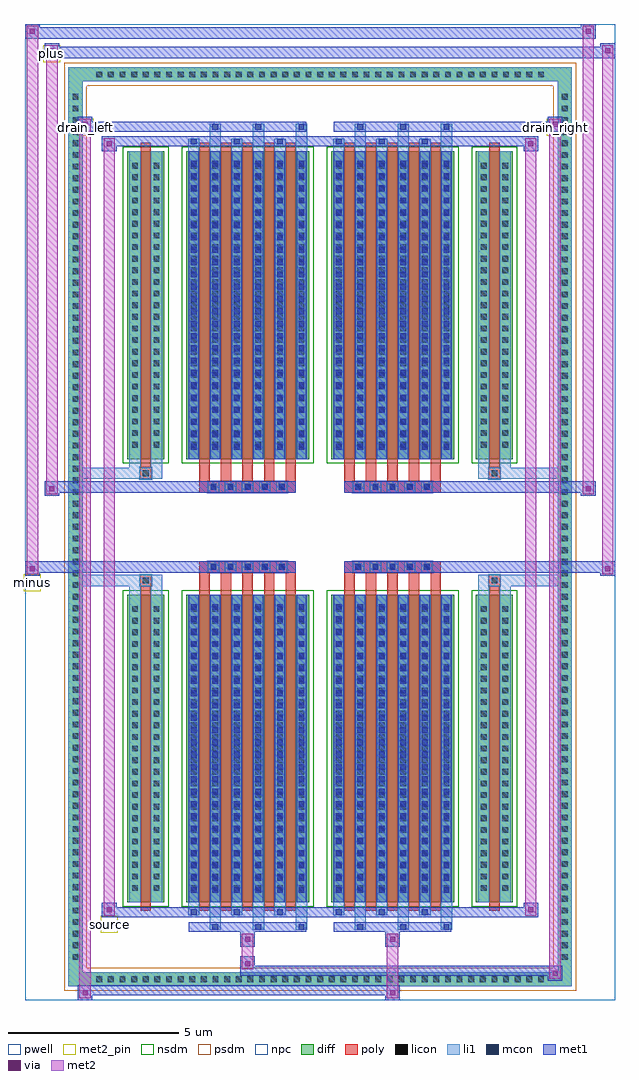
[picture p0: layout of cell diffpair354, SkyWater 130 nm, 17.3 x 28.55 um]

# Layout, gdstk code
import gdstk
lib = gdstk.Library(unit=1e-6, precision=5e-09)
def R(c, l, rs):  # rectangles x0, y0, x1, y1
    for r in rs: c.add(gdstk.rectangle(r[:2], r[2:], *l))
def A(c, l, x, y, w, h, nx, ny, dx, dy):  # array of equal rectangles
    R(c, l, [(x+i*dx, y+j*dy, x+i*dx+w, y+j*dy+h) for i in range(nx) for j in range(ny)])
def P(c, l, *ps):  # polygons
    for p in ps: c.add(gdstk.Polygon(p, *l))
pwell = (64, 44)
diff = (65, 20)
poly = (66, 20)
licon = (66, 44)
li1 = (67, 20)
mcon = (67, 44)
met1 = (68, 20)
via = (68, 44)
met2_pin = (69, 16)
met2 = (69, 20)
nsdm = (93, 44)
psdm = (94, 20)
npc = (95, 20)

diffpair354 = lib.new_cell('diffpair354')
R(diffpair354, pwell, [(-8.63,-13.84,8.63,14.71), (-5.95,-12.03,-0.01,-0.805), (0.01,-12.03,5.95,-0.805), (-5.95,0.805,-0.01,12.03), (0.01,0.805,5.95,12.03)])
A(diffpair354, diff, -6.665, -13.44, 0.41, 0.41, 39, 2, 0.34, 26.47)
A(diffpair354, diff, -7.36, -12.785, 0.41, 0.41, 1, 75, 0, 0.34)
A(diffpair354, diff, 6.95, -12.785, 0.41, 0.41, 1, 75, 0, 0.34)
R(diffpair354, diff, [(-6.665,-13.44,6.665,-13.03), (-7.36,-12.785,-6.95,12.785), (6.95,-12.785,7.36,12.785), (-5.64,-10.985,-4.56,-1.985), (-3.92,-10.985,-0.32,-1.985), (0.32,-10.985,3.92,-1.985), (4.56,-10.985,5.64,-1.985), (-5.64,1.985,-4.56,10.985), (-3.92,1.985,-0.32,10.985), (0.32,1.985,3.92,10.985), (4.56,1.985,5.64,10.985), (-6.665,13.03,6.665,13.44)])
P(diffpair354, diff, [(7.36,13.44),(-7.36,13.44),(-7.36,-13.03),(-6.95,-13.03),(-6.95,13.03),(6.95,13.03),(6.95,-13.03),(-6.95,-13.03),(-7.36,-13.03),(-7.36,-13.44),(7.36,-13.44)])
A(diffpair354, poly, -3.53, -11.235, 0.3, 9.5, 5, 2, 0.63, 12.97)
A(diffpair354, poly, 0.71, -11.235, 0.3, 9.5, 5, 2, 0.63, 12.97)
A(diffpair354, poly, -3.53, -1.735, 0.3, 0.4, 5, 2, 0.63, 3.07)
A(diffpair354, poly, 0.71, -1.735, 0.3, 0.4, 5, 2, 0.63, 3.07)
A(diffpair354, poly, -3.285, -1.335, 0.33, 0.33, 5, 2, 0.5, 2.34)
A(diffpair354, poly, 0.955, -1.335, 0.33, 0.33, 5, 2, 0.5, 2.34)
R(diffpair354, poly, [(-5.25,-11.235,-4.95,-1.735), (4.95,-11.235,5.25,-1.735), (-5.265,-1.735,-4.935,-1.405), (-5.265,-1.735,-4.935,-1.405), (4.935,-1.735,5.265,-1.405), (4.935,-1.735,5.265,-1.405), (-3.53,-1.335,-0.71,-1.005), (0.71,-1.335,3.53,-1.005), (-3.53,1.005,-0.71,1.335), (0.71,1.005,3.53,1.335), (-5.265,1.405,-4.935,1.735), (-5.265,1.405,-4.935,1.735), (4.935,1.405,5.265,1.735), (4.935,1.405,5.265,1.735), (-5.25,1.735,-4.95,11.235), (4.95,1.735,5.25,11.235)])
A(diffpair354, licon, -6.545, -13.32, 0.17, 0.17, 39, 2, 0.34, 26.47)
A(diffpair354, licon, -7.24, -12.665, 0.17, 0.17, 1, 75, 0, 0.34)
A(diffpair354, licon, 7.07, -12.665, 0.17, 0.17, 1, 75, 0, 0.34)
A(diffpair354, licon, -5.5, -10.65, 0.17, 0.17, 1, 25, 0, 0.34)
A(diffpair354, licon, -4.87, -10.65, 0.17, 0.17, 1, 25, 0, 0.34)
A(diffpair354, licon, -3.78, -10.65, 0.17, 0.17, 6, 25, 0.63, 0.34)
A(diffpair354, licon, 0.46, -10.65, 0.17, 0.17, 6, 25, 0.63, 0.34)
A(diffpair354, licon, 4.7, -10.65, 0.17, 0.17, 1, 25, 0, 0.34)
A(diffpair354, licon, 5.33, -10.65, 0.17, 0.17, 1, 25, 0, 0.34)
A(diffpair354, licon, -3.205, -1.255, 0.17, 0.17, 5, 2, 0.5, 2.34)
A(diffpair354, licon, 1.035, -1.255, 0.17, 0.17, 5, 2, 0.5, 2.34)
A(diffpair354, licon, -5.5, 2.32, 0.17, 0.17, 1, 25, 0, 0.34)
A(diffpair354, licon, -4.87, 2.32, 0.17, 0.17, 1, 25, 0, 0.34)
A(diffpair354, licon, -3.78, 2.32, 0.17, 0.17, 6, 25, 0.63, 0.34)
A(diffpair354, licon, 0.46, 2.32, 0.17, 0.17, 6, 25, 0.63, 0.34)
A(diffpair354, licon, 4.7, 2.32, 0.17, 0.17, 1, 25, 0, 0.34)
A(diffpair354, licon, 5.33, 2.32, 0.17, 0.17, 1, 25, 0, 0.34)
R(diffpair354, licon, [(-5.185,-1.655,-5.015,-1.485), (5.015,-1.655,5.185,-1.485), (-5.185,1.485,-5.015,1.655), (5.015,1.485,5.185,1.655)])
A(diffpair354, li1, -6.625, -13.4, 0.33, 0.33, 39, 2, 0.34, 26.47)
A(diffpair354, li1, -7.32, -12.745, 0.33, 0.33, 1, 75, 0, 0.34)
A(diffpair354, li1, 6.99, -12.745, 0.33, 0.33, 1, 75, 0, 0.34)
A(diffpair354, li1, -3.23, -11.79, 0.33, 0.805, 3, 2, 1.26, 22.775)
A(diffpair354, li1, -3.15, -11.79, 0.17, 0.17, 3, 2, 1.26, 23.41)
A(diffpair354, li1, 1.01, -11.79, 0.33, 0.805, 3, 2, 1.26, 22.775)
A(diffpair354, li1, 1.09, -11.79, 0.17, 0.17, 3, 2, 1.26, 23.41)
A(diffpair354, li1, -3.86, -11.36, 0.33, 0.375, 3, 2, 1.26, 22.345)
A(diffpair354, li1, -3.78, -11.36, 0.17, 0.17, 3, 2, 1.26, 22.55)
A(diffpair354, li1, 0.38, -11.36, 0.33, 0.375, 3, 2, 1.26, 22.345)
A(diffpair354, li1, 0.46, -11.36, 0.17, 0.17, 3, 2, 1.26, 22.55)
A(diffpair354, li1, -3.86, -10.985, 0.33, 9, 6, 2, 0.63, 12.97)
A(diffpair354, li1, 0.38, -10.985, 0.33, 9, 6, 2, 0.63, 12.97)
A(diffpair354, li1, -5.58, -10.73, 0.33, 0.33, 1, 25, 0, 0.34)
A(diffpair354, li1, -4.95, -10.73, 0.33, 0.33, 1, 25, 0, 0.34)
A(diffpair354, li1, -3.86, -10.73, 0.33, 0.33, 6, 25, 0.63, 0.34)
A(diffpair354, li1, 0.38, -10.73, 0.33, 0.33, 6, 25, 0.63, 0.34)
A(diffpair354, li1, 4.62, -10.73, 0.33, 0.33, 1, 25, 0, 0.34)
A(diffpair354, li1, 5.25, -10.73, 0.33, 0.33, 1, 25, 0, 0.34)
A(diffpair354, li1, -3.78, -10.71, 0.17, 0.17, 6, 24, 0.63, 0.36)
A(diffpair354, li1, -3.78, -10.71, 0.17, 8.45, 6, 2, 0.63, 12.97)
A(diffpair354, li1, 0.46, -10.71, 0.17, 0.17, 6, 24, 0.63, 0.36)
A(diffpair354, li1, 0.46, -10.71, 0.17, 8.45, 6, 2, 0.63, 12.97)
A(diffpair354, li1, -3.285, -1.335, 0.33, 0.33, 5, 2, 0.5, 2.34)
A(diffpair354, li1, 0.955, -1.335, 0.33, 0.33, 5, 2, 0.5, 2.34)
A(diffpair354, li1, -5.58, 2.24, 0.33, 0.33, 1, 25, 0, 0.34)
A(diffpair354, li1, -4.95, 2.24, 0.33, 0.33, 1, 25, 0, 0.34)
A(diffpair354, li1, -3.86, 2.24, 0.33, 0.33, 6, 25, 0.63, 0.34)
A(diffpair354, li1, 0.38, 2.24, 0.33, 0.33, 6, 25, 0.63, 0.34)
A(diffpair354, li1, 4.62, 2.24, 0.33, 0.33, 1, 25, 0, 0.34)
A(diffpair354, li1, 5.25, 2.24, 0.33, 0.33, 1, 25, 0, 0.34)
A(diffpair354, li1, -3.78, 2.26, 0.17, 0.17, 6, 24, 0.63, 0.36)
A(diffpair354, li1, 0.46, 2.26, 0.17, 0.17, 6, 24, 0.63, 0.36)
R(diffpair354, li1, [(-7.36,-13.44,-6.95,-13.03), (-7.36,-13.44,-6.95,-13.03), (-6.95,-13.44,6.95,-13.03), (6.95,-13.44,7.36,-13.03), (6.95,-13.44,7.36,-13.03), (-7.36,-13.03,-6.95,13.03), (6.95,-13.03,7.36,13.03), (-5.58,-10.985,-5.25,-1.985), (-4.95,-10.985,-4.62,-1.985), (4.62,-10.985,4.95,-1.985), (5.25,-10.985,5.58,-1.985), (-5.58,-1.985,-5.25,-1.405), (-4.95,-1.985,-4.62,-1.405), (4.62,-1.985,4.95,-1.405), (5.25,-1.985,5.58,-1.405), (-7.36,-1.735,-5.265,-1.405), (-5.58,-1.735,-5.265,-1.405), (-5.265,-1.735,-4.935,-1.405), (-4.935,-1.735,-4.62,-1.405), (4.62,-1.735,4.935,-1.405), (4.935,-1.735,5.265,-1.405), (4.935,-1.735,7.36,-1.405), (5.265,-1.735,5.58,-1.405), (-7.36,1.405,-5.265,1.735), (-5.58,1.405,-5.265,1.735), (-5.58,1.405,-5.25,1.985), (-5.265,1.405,-4.935,1.735), (-4.95,1.405,-4.62,1.985), (-4.935,1.405,-4.62,1.735), (4.62,1.405,4.935,1.735), (4.62,1.405,4.95,1.985), (4.935,1.405,5.265,1.735), (4.935,1.405,7.36,1.735), (5.25,1.405,5.58,1.985), (5.265,1.405,5.58,1.735), (-5.58,1.985,-5.25,10.985), (-4.95,1.985,-4.62,10.985), (4.62,1.985,4.95,10.985), (5.25,1.985,5.58,10.985), (-7.36,13.03,-6.95,13.44), (-7.36,13.03,-6.95,13.44), (-6.95,13.03,6.95,13.44), (6.95,13.03,7.36,13.44), (6.95,13.03,7.36,13.44)])
A(diffpair354, mcon, -3.15, -11.79, 0.17, 0.17, 3, 2, 1.26, 23.41)
A(diffpair354, mcon, 1.09, -11.79, 0.17, 0.17, 3, 2, 1.26, 23.41)
A(diffpair354, mcon, -3.78, -11.36, 0.17, 0.17, 3, 2, 1.26, 22.55)
A(diffpair354, mcon, 0.46, -11.36, 0.17, 0.17, 3, 2, 1.26, 22.55)
A(diffpair354, mcon, -3.78, -10.71, 0.17, 0.17, 6, 24, 0.63, 0.36)
A(diffpair354, mcon, 0.46, -10.71, 0.17, 0.17, 6, 24, 0.63, 0.36)
A(diffpair354, mcon, -3.205, -1.255, 0.17, 0.17, 5, 2, 0.5, 2.34)
A(diffpair354, mcon, 1.035, -1.255, 0.17, 0.17, 5, 2, 0.5, 2.34)
A(diffpair354, mcon, -3.78, 2.26, 0.17, 0.17, 6, 24, 0.63, 0.36)
A(diffpair354, mcon, 0.46, 2.26, 0.17, 0.17, 6, 24, 0.63, 0.36)
A(diffpair354, met1, -3.21, -11.85, 0.29, 0.29, 3, 2, 1.26, 23.41)
A(diffpair354, met1, 1.03, -11.85, 0.29, 0.29, 3, 2, 1.26, 23.41)
A(diffpair354, met1, -3.84, -11.42, 0.29, 0.29, 3, 2, 1.26, 22.55)
A(diffpair354, met1, 0.4, -11.42, 0.29, 0.29, 3, 2, 1.26, 22.55)
A(diffpair354, met1, -3.84, -10.985, 0.29, 9, 6, 2, 0.63, 12.97)
A(diffpair354, met1, 0.4, -10.985, 0.29, 9, 6, 2, 0.63, 12.97)
A(diffpair354, met1, -3.84, -10.77, 0.29, 0.29, 6, 24, 0.63, 0.36)
A(diffpair354, met1, 0.4, -10.77, 0.29, 0.29, 6, 24, 0.63, 0.36)
A(diffpair354, met1, -3.265, -1.315, 0.29, 0.29, 5, 2, 0.5, 2.34)
A(diffpair354, met1, 0.975, -1.315, 0.29, 0.29, 5, 2, 0.5, 2.34)
A(diffpair354, met1, -3.84, 2.2, 0.29, 0.29, 6, 24, 0.63, 0.36)
A(diffpair354, met1, 0.4, 2.2, 0.29, 0.29, 6, 24, 0.63, 0.36)
R(diffpair354, met1, [(-7.09,-13.84,-6.66,-13.41), (1.905,-13.84,2.335,-13.41), (-7.09,-13.7,2.335,-13.41), (6.66,-13.27,7.09,-12.84), (-2.335,-13.13,7.09,-12.84), (-2.335,-12.99,-1.905,-12.56), (-2.335,-12.28,-1.905,-11.85), (1.905,-12.28,2.335,-11.85), (-3.84,-11.85,-0.4,-11.56), (0.4,-11.85,3.84,-11.56), (-6.38,-11.42,-5.95,-10.99), (-6.38,-11.42,-3.84,-11.13), (-3.84,-11.42,-0.4,-11.13), (-0.4,-11.42,0.4,-11.13), (0.4,-11.42,3.84,-11.13), (3.84,-11.42,6.38,-11.13), (5.95,-11.42,6.38,-10.99), (-8.63,-1.435,-8.2,-1.005), (8.2,-1.435,8.63,-1.005), (-8.63,-1.335,-0.71,-1.005), (-3.53,-1.335,-0.71,-1.005), (0.71,-1.335,3.53,-1.005), (0.71,-1.335,8.63,-1.005), (-8.06,0.905,-7.63,1.335), (7.63,0.905,8.06,1.335), (-8.06,1.005,-3.53,1.335), (-3.53,1.005,-0.71,1.335), (0.71,1.005,3.53,1.335), (3.53,1.005,8.06,1.335), (-6.38,10.99,-5.95,11.42), (5.95,10.99,6.38,11.42), (-6.38,11.13,-3.84,11.42), (-3.84,11.13,-0.4,11.42), (-0.4,11.13,0.4,11.42), (0.4,11.13,3.84,11.42), (3.84,11.13,6.38,11.42), (-7.09,11.56,-6.66,11.99), (-7.09,11.56,-3.84,11.85), (-3.84,11.56,-0.4,11.85), (0.4,11.56,3.84,11.85), (3.84,11.56,7.09,11.85), (6.66,11.56,7.09,11.99), (-8.06,13.71,-7.63,14.14), (-8.06,13.71,-5.95,14.04), (-5.95,13.71,5.95,14.04), (5.95,13.71,8.63,14.04), (8.2,13.71,8.63,14.14), (-8.63,14.28,-8.2,14.71), (-8.63,14.28,-5.95,14.61), (-5.95,14.28,5.95,14.61), (5.95,14.28,8.06,14.61), (7.63,14.28,8.06,14.71)])
R(diffpair354, via, [(-6.95,-13.7,-6.8,-13.55), (2.045,-13.7,2.195,-13.55), (6.8,-13.13,6.95,-12.98), (-2.195,-12.85,-2.045,-12.7), (-2.195,-12.14,-2.045,-11.99), (2.045,-12.14,2.195,-11.99), (-6.24,-11.28,-6.09,-11.13), (6.09,-11.28,6.24,-11.13), (-8.49,-1.295,-8.34,-1.145), (8.34,-1.295,8.49,-1.145), (-7.92,1.045,-7.77,1.195), (7.77,1.045,7.92,1.195), (-6.24,11.13,-6.09,11.28), (6.09,11.13,6.24,11.28), (-6.95,11.7,-6.8,11.85), (6.8,11.7,6.95,11.85), (-7.92,13.85,-7.77,14), (8.34,13.85,8.49,14), (-8.49,14.42,-8.34,14.57), (7.77,14.42,7.92,14.57)])
R(diffpair354, met2_pin, [(-6.415,-11.87,-5.915,-11.37), (-8.665,-1.885,-8.165,-1.385), (-7.125,11.44,-6.625,11.94), (6.625,11.44,7.125,11.94), (-8.095,13.59,-7.595,14.09)])
R(diffpair354, met2, [(-7.04,-13.79,-6.71,-13.46), (-7.04,-13.79,-6.71,11.94), (1.955,-13.79,2.285,-13.46), (1.955,-13.46,2.285,-12.23), (6.71,-13.22,7.04,-12.89), (6.71,-13.22,7.04,11.94), (-2.285,-12.94,-1.955,-12.61), (-2.285,-12.61,-1.955,-12.23), (-2.285,-12.23,-1.955,-11.9), (1.955,-12.23,2.285,-11.9), (-6.33,-11.37,-6,-11.04), (-6.33,-11.37,-6,11.37), (6,-11.37,6.33,-11.04), (6,-11.37,6.33,11.37), (-8.58,-1.385,-8.25,-1.055), (-8.58,-1.385,-8.25,14.66), (8.25,-1.385,8.58,-1.055), (8.25,-1.385,8.58,14.09), (-8.01,0.955,-7.68,1.285), (-8.01,0.955,-7.68,14.09), (7.68,0.955,8.01,1.285), (7.68,0.955,8.01,14.66), (-6.33,11.04,-6,11.37), (6,11.04,6.33,11.37), (-7.04,11.61,-6.71,11.94), (6.71,11.61,7.04,11.94), (-8.01,13.76,-7.68,14.09), (8.25,13.76,8.58,14.09), (-8.58,14.33,-8.25,14.66), (7.68,14.33,8.01,14.66)])
P(diffpair354, met2, [(8.58,-1.385),(8.58,-1.385),(8.58,-1.055),(8.58,-1.055)],
  [(8.58,13.76),(8.58,13.76),(8.58,14.09),(8.58,14.09)],
  [(-8.25,-1.385),(-8.25,-1.385),(-8.25,-1.055),(-8.25,-1.055)],
  [(-8.25,14.33),(-8.25,14.33),(-8.25,14.66),(-8.25,14.66)],
  [(8.01,0.955),(8.01,0.955),(8.01,1.285),(8.01,1.285)],
  [(8.01,14.33),(8.01,14.33),(8.01,14.66),(8.01,14.66)],
  [(-7.68,0.955),(-7.68,0.955),(-7.68,1.285),(-7.68,1.285)],
  [(-7.68,13.76),(-7.68,13.76),(-7.68,14.09),(-7.68,14.09)],
  [(-6.71,-13.79),(-6.71,-13.79),(-6.71,-13.46),(-6.71,-13.46)],
  [(-6.71,11.61),(-6.71,11.61),(-6.71,11.94),(-6.71,11.94)],
  [(7.04,-13.22),(7.04,-13.22),(7.04,-12.89),(7.04,-12.89)],
  [(7.04,11.61),(7.04,11.61),(7.04,11.94),(7.04,11.94)],
  [(-6,-11.37),(-6,-11.37),(-6,-11.04),(-6,-11.04)],
  [(-6,11.04),(-6,11.04),(-6,11.37),(-6,11.37)],
  [(6.33,-11.37),(6.33,-11.37),(6.33,-11.04),(6.33,-11.04)],
  [(6.33,11.04),(6.33,11.04),(6.33,11.37),(6.33,11.37)])
R(diffpair354, nsdm, [(-5.77,-11.115,-4.43,-1.855), (-4.05,-11.115,-0.19,-1.855), (0.19,-11.115,4.05,-1.855), (4.43,-11.115,5.77,-1.855), (-5.77,1.855,-4.43,11.115), (-4.05,1.855,-0.19,11.115), (0.19,1.855,4.05,11.115), (4.43,1.855,5.77,11.115)])
P(diffpair354, psdm, [(7.49,13.57),(-7.49,13.57),(-7.49,-12.9),(-6.82,-12.9),(-6.82,12.9),(6.82,12.9),(6.82,-12.9),(-6.82,-12.9),(-7.49,-12.9),(-7.49,-13.57),(7.49,-13.57)])
A(diffpair354, npc, -3.305, -1.355, 0.37, 0.37, 5, 2, 0.5, 2.34)
A(diffpair354, npc, 0.935, -1.355, 0.37, 0.37, 5, 2, 0.5, 2.34)
R(diffpair354, npc, [(-5.285,-1.755,-4.915,-1.385), (4.915,-1.755,5.285,-1.385), (-3.305,-1.355,-2.435,-0.985), (-3.305,-1.355,-2.435,-0.985), (-2.805,-1.355,-1.935,-0.985), (-2.805,-1.355,-1.935,-0.985), (-2.305,-1.355,-1.435,-0.985), (-2.305,-1.355,-1.435,-0.985), (-1.805,-1.355,-0.935,-0.985), (-1.805,-1.355,-0.935,-0.985), (0.935,-1.355,1.805,-0.985), (0.935,-1.355,1.805,-0.985), (1.435,-1.355,2.305,-0.985), (1.435,-1.355,2.305,-0.985), (1.935,-1.355,2.805,-0.985), (1.935,-1.355,2.805,-0.985), (2.435,-1.355,3.305,-0.985), (2.435,-1.355,3.305,-0.985), (-3.305,0.985,-2.435,1.355), (-3.305,0.985,-2.435,1.355), (-2.805,0.985,-1.935,1.355), (-2.805,0.985,-1.935,1.355), (-2.305,0.985,-1.435,1.355), (-2.305,0.985,-1.435,1.355), (-1.805,0.985,-0.935,1.355), (-1.805,0.985,-0.935,1.355), (0.935,0.985,1.805,1.355), (0.935,0.985,1.805,1.355), (1.435,0.985,2.305,1.355), (1.435,0.985,2.305,1.355), (1.935,0.985,2.805,1.355), (1.935,0.985,2.805,1.355), (2.435,0.985,3.305,1.355), (2.435,0.985,3.305,1.355), (-5.285,1.385,-4.915,1.755), (4.915,1.385,5.285,1.755)])
diffpair354.add(gdstk.Label('minus', (-8.415,-1.635), layer=69, texttype=5))
diffpair354.add(gdstk.Label('drain_right', (6.875,11.69), layer=69, texttype=5))
diffpair354.add(gdstk.Label('drain_left', (-6.875,11.69), layer=69, texttype=5))
diffpair354.add(gdstk.Label('source', (-6.165,-11.62), layer=69, texttype=5))
diffpair354.add(gdstk.Label('plus', (-7.845,13.84), layer=69, texttype=5))

lib.write_gds('diffpair354.gds')
